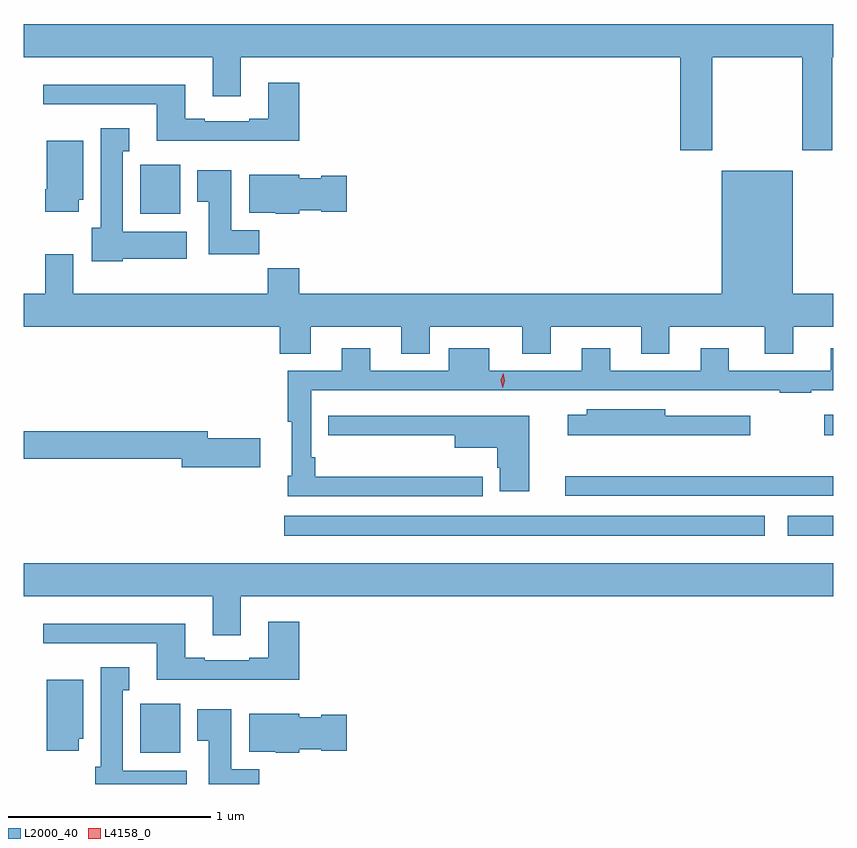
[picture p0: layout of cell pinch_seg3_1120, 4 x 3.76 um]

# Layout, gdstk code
import gdstk
lib = gdstk.Library(unit=1e-6, precision=1e-09)
def R(c, l, rs):  # rectangles x0, y0, x1, y1
    for r in rs: c.add(gdstk.rectangle(r[:2], r[2:], *l))
def P(c, l, *ps):  # polygons
    for p in ps: c.add(gdstk.Polygon(p, *l))
L2000_40 = (2000, 40)
L4158_0 = (4158, 0)

pinch_seg3_1120 = lib.new_cell('pinch_seg3_1120')
R(pinch_seg3_1120, L2000_40, [(125.402,740.102,125.599,740.344), (126.114,741.176,128.488,741.273), (128.601,741.176,128.826,741.273), (127.503,741.372,128.826,741.47), (128.781,741.671,128.826,741.772), (125.402,742.766,125.599,743.008)])
P(pinch_seg3_1120, L2000_40, [(128.229,743.54),(128.674,743.54),(128.674,743.079),(128.821,743.079),(128.821,743.54),(128.826,743.54),(128.826,743.704),(124.826,743.704),(124.826,743.54),(125.759,743.54),(125.759,743.346),(125.899,743.346),(125.899,743.54),(128.069,743.54),(128.069,743.079),(128.229,743.079)],
  [(126.188,743.413),(126.035,743.413),(126.035,743.236),(125.939,743.236),(125.939,743.223),(125.719,743.223),(125.719,743.236),(125.623,743.236),(125.623,743.404),(124.923,743.404),(124.923,743.307),(125.483,743.307),(125.483,743.126),(126.188,743.126)],
  [(125.316,742.544),(125.632,742.544),(125.632,742.678),(125.314,742.678),(125.314,743.075),(125.347,743.075),(125.347,743.188),(125.207,743.188),(125.207,742.698),(125.162,742.698),(125.162,742.532),(125.316,742.532)],
  [(125.098,742.836),(125.119,742.836),(125.119,743.128),(124.94,743.128),(124.94,742.888),(124.933,742.888),(124.933,742.776),(125.098,742.776)],
  [(125.99,742.684),(125.851,742.684),(125.851,742.981),(125.684,742.981),(125.684,742.825),(125.741,742.825),(125.741,742.566),(125.99,742.566)],
  [(126.244,742.208),(126.692,742.208),(126.692,742.075),(126.832,742.075),(126.832,742.208),(127.289,742.208),(127.289,742.075),(127.429,742.075),(127.429,742.208),(127.877,742.208),(127.877,742.075),(128.017,742.075),(128.017,742.208),(128.489,742.208),(128.489,742.075),(128.629,742.075),(128.629,742.208),(128.826,742.208),(128.826,742.372),(128.626,742.372),(128.626,742.978),(128.276,742.978),(128.276,742.372),(126.188,742.372),(126.188,742.496),(126.031,742.496),(126.031,742.372),(125.071,742.372),(125.071,742.567),(124.931,742.567),(124.931,742.372),(124.826,742.372),(124.826,742.208),(126.092,742.208),(126.092,742.075),(126.244,742.075)],
  [(126.186,742.784),(126.297,742.784),(126.297,742.777),(126.421,742.777),(126.421,742.955),(126.297,742.955),(126.297,742.942),(126.186,742.942),(126.186,742.96),(125.939,742.96),(125.939,742.772),(126.072,742.772),(126.072,742.766),(126.186,742.766)],
  [(127.093,741.466),(126.86,741.466),(126.86,741.467),(126.266,741.467),(126.266,741.562),(126.246,741.562),(126.246,741.894),(128.562,741.894),(128.562,741.882),(128.717,741.882),(128.717,741.894),(128.826,741.894),(128.826,742.102),(128.813,742.102),(128.813,741.99),(128.311,741.99),(128.311,742.102),(128.171,742.102),(128.171,741.99),(127.723,741.99),(127.723,742.102),(127.583,742.102),(127.583,741.99),(127.126,741.99),(127.126,742.102),(126.926,742.102),(126.926,741.99),(126.538,741.99),(126.538,742.102),(126.398,742.102),(126.398,741.99),(126.13,741.99),(126.13,741.739),(126.149,741.739),(126.149,741.472),(126.13,741.472),(126.13,741.369),(127.093,741.369)],
  [(128.416,741.768),(127.996,741.768),(127.996,741.799),(127.608,741.799),(127.608,741.772),(127.515,741.772),(127.515,741.671),(128.416,741.671)],
  [(127.324,741.769),(127.06,741.769),(127.06,741.768),(126.442,741.768),(126.442,741.767),(126.331,741.767),(126.331,741.671),(126.956,741.671),(126.956,741.611),(127.166,741.611),(127.166,741.512),(127.178,741.512),(127.178,741.396),(127.324,741.396)],
  [(125.995,741.656),(125.734,741.656),(125.734,741.692),(124.826,741.692),(124.826,741.556),(125.606,741.556),(125.606,741.514),(125.995,741.514)],
  [(125.899,740.876),(128.826,740.876),(128.826,741.04),(124.826,741.04),(124.826,740.876),(125.759,740.876),(125.759,740.682),(125.899,740.682)],
  [(126.188,740.749),(126.035,740.749),(126.035,740.572),(125.939,740.572),(125.939,740.559),(125.719,740.559),(125.719,740.572),(125.623,740.572),(125.623,740.74),(124.923,740.74),(124.923,740.643),(125.483,740.643),(125.483,740.462),(126.188,740.462)],
  [(125.632,740.014),(125.314,740.014),(125.314,740.411),(125.347,740.411),(125.347,740.524),(125.207,740.524),(125.207,740.034),(125.18,740.034),(125.18,739.948),(125.632,739.948)],
  [(125.098,740.172),(125.119,740.172),(125.119,740.464),(124.94,740.464),(124.94,740.112),(125.098,740.112)],
  [(125.99,740.02),(125.851,740.02),(125.851,740.317),(125.684,740.317),(125.684,740.161),(125.741,740.161),(125.741,739.948),(125.99,739.948)],
  [(126.186,740.12),(126.297,740.12),(126.297,740.113),(126.421,740.113),(126.421,740.291),(126.297,740.291),(126.297,740.278),(126.186,740.278),(126.186,740.296),(125.939,740.296),(125.939,740.108),(126.072,740.108),(126.072,740.102),(126.186,740.102)])
P(pinch_seg3_1120, L4158_0, [(127.193,741.907),(127.193,741.907),(127.184,741.943),(127.196,741.978),(127.196,741.978),(127.196,741.978),(127.204,741.942),(127.193,741.907)])

lib.write_gds('pinch_seg3_1120.gds')
